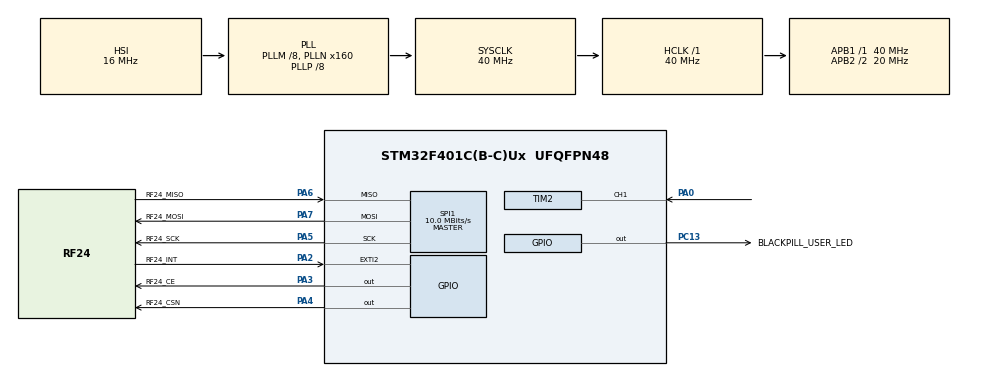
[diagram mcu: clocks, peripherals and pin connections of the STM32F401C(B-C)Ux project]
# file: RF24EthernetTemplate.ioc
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FREERTOS.Tasks01=mainTask,24,3000,StartMainTask,Default,NULL,Dynamic,NULL,NULL;blinkerTask,8,256,StartBlinkerTask,Default,NULL,Dynamic,NULL,NULL
FREERTOS.configENABLE_FPU=1
FREERTOS.configTOTAL_HEAP_SIZE=49152
FREERTOS.configUSE_MALLOC_FAILED_HOOK=1
FREERTOS.configUSE_NEWLIB_REENTRANT=1
MBEDTLS.MBEDTLS_DEBUG_C=1
MBEDTLS.MBEDTLS_HAVE_TIME=1
MBEDTLS.MBEDTLS_PLATFORM_MEMORY=1
MBEDTLS.MBEDTLS_SSL_CLI_C=1
MBEDTLS.MBEDTLS_SSL_PROTO_DTLS=1
MBEDTLS.MBEDTLS_TCP_IP=0
Mcu.Family=STM32F4
Mcu.Name=STM32F401C(B-C)Ux
Mcu.Package=UFQFPN48
NVIC.EXTI2_IRQn=true\:5\:0\:false\:false\:true\:true\:true\:true\:true
NVIC.PriorityGroup=NVIC_PRIORITYGROUP_4
NVIC.TIM1_UP_TIM10_IRQn=true\:15\:0\:false\:false\:true\:false\:false\:true\:true
NVIC.TimeBase=TIM1_UP_TIM10_IRQn
NVIC.TimeBaseIP=TIM10
PA0-WKUP.Signal=S_TIM2_CH1_ETR
PA13.Mode=Trace_Asynchronous_SW
PA13.Signal=SYS_JTMS-SWDIO
PA14.Mode=Trace_Asynchronous_SW
PA14.Signal=SYS_JTCK-SWCLK
PA2.GPIO_Label=RF24_INT
PA2.Signal=GPXTI2
PA3.GPIO_Label=RF24_CE
PA3.Signal=GPIO_Output
PA4.GPIO_Label=RF24_CSN
PA4.Signal=GPIO_Output
PA5.GPIO_Label=RF24_SCK
PA5.Mode=Full_Duplex_Master
PA5.Signal=SPI1_SCK
PA6.GPIO_Label=RF24_MISO
PA6.Mode=Full_Duplex_Master
PA6.Signal=SPI1_MISO
PA7.GPIO_Label=RF24_MOSI
PA7.Mode=Full_Duplex_Master
PA7.Signal=SPI1_MOSI
PB3.Mode=Trace_Asynchronous_SW
PB3.Signal=SYS_JTDO-SWO
PC13-ANTI_TAMP.GPIO_Label=BLACKPILL_USER_LED
PC13-ANTI_TAMP.Signal=GPIO_Output
PH0\ -\ OSC_IN.Mode=HSE-External-Oscillator
PH0\ -\ OSC_IN.Signal=RCC_OSC_IN
PH1\ -\ OSC_OUT.Mode=HSE-External-Oscillator
PH1\ -\ OSC_OUT.Signal=RCC_OSC_OUT
ProjectManager.HeapSize=0x200
ProjectManager.StackSize=0x400
ProjectManager.TargetToolchain=STM32CubeIDE
RCC.48MHZClocksFreq_Value=80000000
RCC.AHBFreq_Value=40000000
RCC.APB1Freq_Value=40000000
RCC.APB1TimFreq_Value=40000000
RCC.APB2CLKDivider=RCC_HCLK_DIV2
RCC.APB2Freq_Value=20000000
RCC.APB2TimFreq_Value=40000000
RCC.CortexFreq_Value=40000000
RCC.HCLKFreq_Value=40000000
RCC.HSE_VALUE=25000000
RCC.HSI_VALUE=16000000
RCC.LSE_VALUE=32768
RCC.PLLM=8
RCC.PLLN=160
RCC.PLLP=RCC_PLLP_DIV8
RCC.SYSCLKFreq_VALUE=40000000
RCC.SYSCLKSource=RCC_SYSCLKSOURCE_PLLCLK
RCC.VCOOutputFreq_Value=320000000
SH.S_TIM2_CH1_ETR.0=TIM2_CH1,Input_Capture1_from_TI1
SPI1.BaudRatePrescaler=SPI_BAUDRATEPRESCALER_2
SPI1.CalculateBaudRate=10.0 MBits/s
SPI1.Direction=SPI_DIRECTION_2LINES
SPI1.Mode=SPI_MODE_MASTER
SPI1.VirtualType=VM_MASTER
TIM2.Channel-Input_Capture1_from_TI1=TIM_CHANNEL_1
VP_FREERTOS_VS_CMSIS_V2.Mode=CMSIS_V2
VP_MBEDTLS_VS_MBEDTLS.Mode=Enabled
VP_SYS_VS_tim10.Mode=TIM10
VP_TIM2_VS_ClockSourceINT.Mode=Internal
board=custom

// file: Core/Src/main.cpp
/* USER CODE BEGIN Header */
/**
  ******************************************************************************
  * @file           : main.c
  * @brief          : Main program body
  ******************************************************************************
  * @attention
  *
  * Copyright (c) 2024 STMicroelectronics.
  * All rights reserved.
  *
  * This software is licensed under terms that can be found in the LICENSE file
  * in the root directory of this software component.
  * If no LICENSE file comes with this software, it is provided AS-IS.
  *
  ******************************************************************************
  */
/* USER CODE END Header */
#include "main.h"
#include "cmsis_os.h"
#include "mbedtls.h"

/* USER CODE BEGIN Includes */
#include "Print.h"
#include "unistd.h"
#include "Rf24SimpleMeshClient.h"
/* USER CODE END Includes */

/* USER CODE BEGIN PM */
#define SWD_DEBUG_WRITE 1
/* USER CODE END PM */

SPI_HandleTypeDef hspi1;

TIM_HandleTypeDef htim2;

/* Definitions for mainTask */
osThreadId_t mainTaskHandle;
const osThreadAttr_t mainTask_attributes = {
  .name = "mainTask",
  .stack_size = 3000 * 4,
  .priority = (osPriority_t) osPriorityNormal,
};
/* Definitions for blinkerTask */
osThreadId_t blinkerTaskHandle;
const osThreadAttr_t blinkerTask_attributes = {
  .name = "blinkerTask",
  .stack_size = 256 * 4,
  .priority = (osPriority_t) osPriorityLow,
};

void SystemClock_Config(void);
static void MX_GPIO_Init(void);
static void MX_SPI1_Init(void);
static void MX_TIM2_Init(void);
void StartMainTask(void *argument);
void StartBlinkerTask(void *argument);

/* USER CODE BEGIN 0 */
#if SWD_DEBUG_WRITE == 1

extern "C"
{
	int __io_putchar(int ch)
	{
		ITM_SendChar(ch);
		return ch;
	}

	int _write(int file, char *ptr, int len)
	{
		switch (file)
		{
		case STDOUT_FILENO:
		case STDERR_FILENO:
			for(int i = 0; i < len; i++)
			{
				ITM_SendChar(ptr[i]);
			}
			break;
		case STDIN_FILENO:
			break;
		default:
			((class Print*) file)->write((uint8_t*) ptr, len);
			break;
		}
		return len;
	}
}
#endif
/* USER CODE END 0 */

int main(void)
{

  /* MCU Configuration--------------------------------------------------------*/

  /* Reset of all peripherals, Initializes the Flash interface and the Systick. */
  HAL_Init();

  /* Configure the system clock */
  SystemClock_Config();

  /* Initialize all configured peripherals */
  MX_GPIO_Init();
  MX_SPI1_Init();
  MX_MBEDTLS_Init();
  MX_TIM2_Init();
  /* Call PreOsInit function */
  MX_MBEDTLS_Init();

  /* Init scheduler */
  osKernelInitialize();

  /* Create the thread(s) */
  /* creation of mainTask */
  mainTaskHandle = osThreadNew(StartMainTask, NULL, &mainTask_attributes);

  /* creation of blinkerTask */
  blinkerTaskHandle = osThreadNew(StartBlinkerTask, NULL, &blinkerTask_attributes);

  /* Start scheduler */
  osKernelStart();

  /* We should never get here as control is now taken by the scheduler */

  /* Infinite loop */
  while (1)
  {

  }
}

void SystemClock_Config(void)
{
  RCC_OscInitTypeDef RCC_OscInitStruct = {0};
  RCC_ClkInitTypeDef RCC_ClkInitStruct = {0};

  /** Configure the main internal regulator output voltage
  */
  __HAL_RCC_PWR_CLK_ENABLE();
  __HAL_PWR_VOLTAGESCALING_CONFIG(PWR_REGULATOR_VOLTAGE_SCALE2);

  /** Initializes the RCC Oscillators according to the specified parameters
  * in the RCC_OscInitTypeDef structure.
  */
  RCC_OscInitStruct.OscillatorType = RCC_OSCILLATORTYPE_HSI;
  RCC_OscInitStruct.HSIState = RCC_HSI_ON;
  RCC_OscInitStruct.HSICalibrationValue = RCC_HSICALIBRATION_DEFAULT;
  RCC_OscInitStruct.PLL.PLLState = RCC_PLL_ON;
  RCC_OscInitStruct.PLL.PLLSource = RCC_PLLSOURCE_HSI;
  RCC_OscInitStruct.PLL.PLLM = 8;
  RCC_OscInitStruct.PLL.PLLN = 160;
  RCC_OscInitStruct.PLL.PLLP = RCC_PLLP_DIV8;
  RCC_OscInitStruct.PLL.PLLQ = 4;
  if (HAL_RCC_OscConfig(&RCC_OscInitStruct) != HAL_OK)
  {
    Error_Handler();
  }

  /** Initializes the CPU, AHB and APB buses clocks
  */
  RCC_ClkInitStruct.ClockType = RCC_CLOCKTYPE_HCLK|RCC_CLOCKTYPE_SYSCLK
                              |RCC_CLOCKTYPE_PCLK1|RCC_CLOCKTYPE_PCLK2;
  RCC_ClkInitStruct.SYSCLKSource = RCC_SYSCLKSOURCE_PLLCLK;
  RCC_ClkInitStruct.AHBCLKDivider = RCC_SYSCLK_DIV1;
  RCC_ClkInitStruct.APB1CLKDivider = RCC_HCLK_DIV1;
  RCC_ClkInitStruct.APB2CLKDivider = RCC_HCLK_DIV2;

  if (HAL_RCC_ClockConfig(&RCC_ClkInitStruct, FLASH_LATENCY_1) != HAL_OK)
  {
    Error_Handler();
  }
}

static void MX_SPI1_Init(void)
{

  /* SPI1 parameter configuration*/
  hspi1.Instance = SPI1;
  hspi1.Init.Mode = SPI_MODE_MASTER;
  hspi1.Init.Direction = SPI_DIRECTION_2LINES;
  hspi1.Init.DataSize = SPI_DATASIZE_8BIT;
  hspi1.Init.CLKPolarity = SPI_POLARITY_LOW;
  hspi1.Init.CLKPhase = SPI_PHASE_1EDGE;
  hspi1.Init.NSS = SPI_NSS_SOFT;
  hspi1.Init.BaudRatePrescaler = SPI_BAUDRATEPRESCALER_2;
  hspi1.Init.FirstBit = SPI_FIRSTBIT_MSB;
  hspi1.Init.TIMode = SPI_TIMODE_DISABLE;
  hspi1.Init.CRCCalculation = SPI_CRCCALCULATION_DISABLE;
  hspi1.Init.CRCPolynomial = 10;
  if (HAL_SPI_Init(&hspi1) != HAL_OK)
  {
    Error_Handler();
  }

}

static void MX_TIM2_Init(void)
{

  TIM_ClockConfigTypeDef sClockSourceConfig = {0};
  TIM_MasterConfigTypeDef sMasterConfig = {0};
  TIM_IC_InitTypeDef sConfigIC = {0};

  htim2.Instance = TIM2;
  htim2.Init.Prescaler = 0;
  htim2.Init.CounterMode = TIM_COUNTERMODE_UP;
  htim2.Init.Period = 4294967295;
  htim2.Init.ClockDivision = TIM_CLOCKDIVISION_DIV1;
  htim2.Init.AutoReloadPreload = TIM_AUTORELOAD_PRELOAD_DISABLE;
  if (HAL_TIM_Base_Init(&htim2) != HAL_OK)
  {
    Error_Handler();
  }
  sClockSourceConfig.ClockSource = TIM_CLOCKSOURCE_INTERNAL;
  if (HAL_TIM_ConfigClockSource(&htim2, &sClockSourceConfig) != HAL_OK)
  {
    Error_Handler();
  }
  if (HAL_TIM_IC_Init(&htim2) != HAL_OK)
  {
    Error_Handler();
  }
  sMasterConfig.MasterOutputTrigger = TIM_TRGO_RESET;
  sMasterConfig.MasterSlaveMode = TIM_MASTERSLAVEMODE_DISABLE;
  if (HAL_TIMEx_MasterConfigSynchronization(&htim2, &sMasterConfig) != HAL_OK)
  {
    Error_Handler();
  }
  sConfigIC.ICPolarity = TIM_INPUTCHANNELPOLARITY_RISING;
  sConfigIC.ICSelection = TIM_ICSELECTION_DIRECTTI;
  sConfigIC.ICPrescaler = TIM_ICPSC_DIV1;
  sConfigIC.ICFilter = 0;
  if (HAL_TIM_IC_ConfigChannel(&htim2, &sConfigIC, TIM_CHANNEL_1) != HAL_OK)
  {
    Error_Handler();
  }

}

static void MX_GPIO_Init(void)
{
  GPIO_InitTypeDef GPIO_InitStruct = {0};

  /* GPIO Ports Clock Enable */
  __HAL_RCC_GPIOC_CLK_ENABLE();
  __HAL_RCC_GPIOH_CLK_ENABLE();
  __HAL_RCC_GPIOA_CLK_ENABLE();
  __HAL_RCC_GPIOB_CLK_ENABLE();

  /*Configure GPIO pin Output Level */
  HAL_GPIO_WritePin(BLACKPILL_USER_LED_GPIO_Port, BLACKPILL_USER_LED_Pin, GPIO_PIN_RESET);

  /*Configure GPIO pin Output Level */
  HAL_GPIO_WritePin(GPIOA, RF24_CE_Pin|RF24_CSN_Pin, GPIO_PIN_RESET);

  /*Configure GPIO pin : BLACKPILL_USER_LED_Pin */
  GPIO_InitStruct.Pin = BLACKPILL_USER_LED_Pin;
  GPIO_InitStruct.Mode = GPIO_MODE_OUTPUT_PP;
  GPIO_InitStruct.Pull = GPIO_NOPULL;
  GPIO_InitStruct.Speed = GPIO_SPEED_FREQ_LOW;
  HAL_GPIO_Init(BLACKPILL_USER_LED_GPIO_Port, &GPIO_InitStruct);

  /*Configure GPIO pin : RF24_INT_Pin */
  GPIO_InitStruct.Pin = RF24_INT_Pin;
  GPIO_InitStruct.Mode = GPIO_MODE_IT_RISING;
  GPIO_InitStruct.Pull = GPIO_NOPULL;
  HAL_GPIO_Init(RF24_INT_GPIO_Port, &GPIO_InitStruct);

  /*Configure GPIO pins : RF24_CE_Pin RF24_CSN_Pin */
  GPIO_InitStruct.Pin = RF24_CE_Pin|RF24_CSN_Pin;
  GPIO_InitStruct.Mode = GPIO_MODE_OUTPUT_PP;
  GPIO_InitStruct.Pull = GPIO_NOPULL;
  GPIO_InitStruct.Speed = GPIO_SPEED_FREQ_LOW;
  HAL_GPIO_Init(GPIOA, &GPIO_InitStruct);

  /* EXTI interrupt init*/
  HAL_NVIC_SetPriority(EXTI2_IRQn, 5, 0);
  HAL_NVIC_EnableIRQ(EXTI2_IRQn);

}

void StartMainTask(void *argument)
{
  /* USER CODE BEGIN 5 */
	Rf24SimpleMeshClient simpleMeshClient(&hspi1);
	simpleMeshClient.taskMethod();
	printf("MainTask finished");

	vTaskDelete(NULL);
	while(true)
	{
		osThreadYield();
	}
  /* USER CODE END 5 */
}

void StartBlinkerTask(void *argument)
{
  /* USER CODE BEGIN StartBlinkerTask */
	/* Infinite loop */
	for (;;)
	{
		HAL_GPIO_TogglePin(BLACKPILL_USER_LED_GPIO_Port, BLACKPILL_USER_LED_Pin);
		uint32_t stackHighWaterMark = uxTaskGetStackHighWaterMark(NULL);
		// printf("[BlinkerTask] Stack high water mark: %lu\n", stackHighWaterMark);
		osDelay(250);
	}
  /* USER CODE END StartBlinkerTask */
}

void HAL_TIM_PeriodElapsedCallback(TIM_HandleTypeDef *htim)
{
  if (htim->Instance == TIM10) {
    HAL_IncTick();
  }
}

void Error_Handler(void)
{
  __disable_irq();
  while (1)
  {
  }
}

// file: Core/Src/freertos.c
/* USER CODE BEGIN Header */
/**
  ******************************************************************************
  * File Name          : freertos.c
  * Description        : Code for freertos applications
  ******************************************************************************
  * @attention
  *
  * Copyright (c) 2024 STMicroelectronics.
  * All rights reserved.
  *
  * This software is licensed under terms that can be found in the LICENSE file
  * in the root directory of this software component.
  * If no LICENSE file comes with this software, it is provided AS-IS.
  *
  ******************************************************************************
  */
/* USER CODE END Header */

#include "FreeRTOS.h"
#include "task.h"
#include "main.h"

/* Hook prototypes */
void vApplicationMallocFailedHook(void);

/* USER CODE BEGIN 5 */
void vApplicationMallocFailedHook(void)
{
   /* vApplicationMallocFailedHook() will only be called if
   configUSE_MALLOC_FAILED_HOOK is set to 1 in FreeRTOSConfig.h. It is a hook
   function that will get called if a call to pvPortMalloc() fails.
   pvPortMalloc() is called internally by the kernel whenever a task, queue,
   timer or semaphore is created. It is also called by various parts of the
   demo application. If heap_1.c or heap_2.c are used, then the size of the
   heap available to pvPortMalloc() is defined by configTOTAL_HEAP_SIZE in
   FreeRTOSConfig.h, and the xPortGetFreeHeapSize() API function can be used
   to query the size of free heap space that remains (although it does not
   provide information on how the remaining heap might be fragmented). */

	size_t freeHeap = xPortGetFreeHeapSize();
	printf("Malloc failed. Free heap size was %u\n", freeHeap);

	HeapStats_t xHeapStats;
	vPortGetHeapStats(&xHeapStats);

	printf("[Heap Stats] xAvailableHeapSpaceInBytes: %u\n", xHeapStats.xAvailableHeapSpaceInBytes);
	printf("[Heap Stats] xSizeOfLargestFreeBlockInBytes: %u\n", xHeapStats.xSizeOfLargestFreeBlockInBytes);
	printf("[Heap Stats] xSizeOfSmallestFreeBlockInBytes: %u\n", xHeapStats.xSizeOfSmallestFreeBlockInBytes);
	printf("[Heap Stats] xNumberOfFreeBlocks: %u\n", xHeapStats.xNumberOfFreeBlocks);
	printf("[Heap Stats] xMinimumEverFreeBytesRemaining: %u\n", xHeapStats.xMinimumEverFreeBytesRemaining);
	printf("[Heap Stats] xNumberOfSuccessfulAllocations: %u\n", xHeapStats.xNumberOfSuccessfulAllocations);
	printf("[Heap Stats] xNumberOfSuccessfulFrees: %u\n", xHeapStats.xNumberOfSuccessfulFrees);

	__disable_irq();
	while(1)
	{

	}
}
/* USER CODE END 5 */
